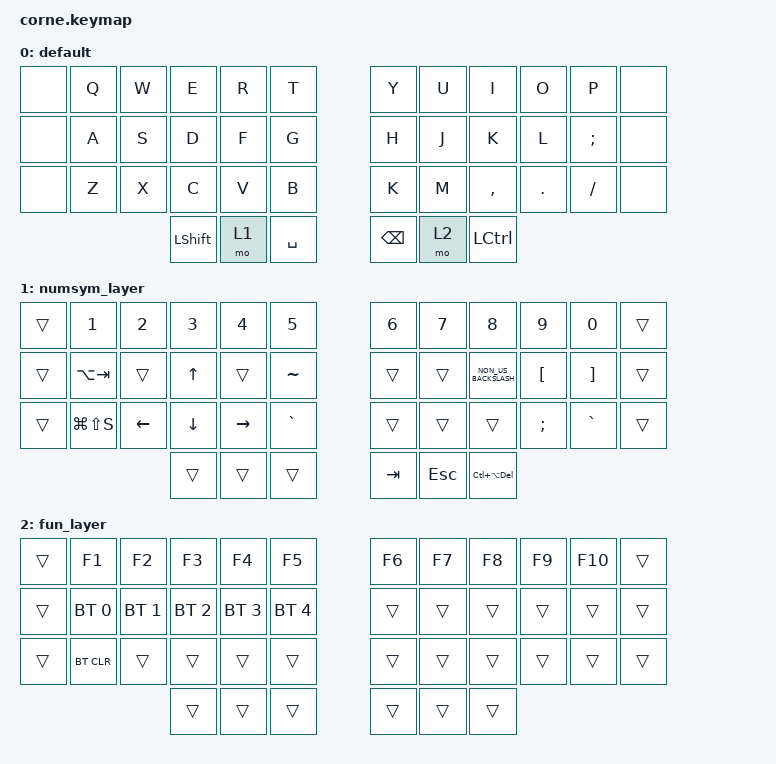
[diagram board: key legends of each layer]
/*
 * Copyright (c) 2020 The ZMK Contributors
 *
 * SPDX-License-Identifier: MIT
 */

#include <behaviors.dtsi>
#include <dt-bindings/zmk/bt.h>
#include <dt-bindings/zmk/keys.h>

&mt {
    tapping-term-ms = <400>;
    quick-tap-ms = <175>;
    require-prior-idle-ms = <150>;
    flavor = "balanced";
};

&lt { tapping-term-ms = <400>; };

/ {
    combos {
        compatible = "zmk,combos";

        combo_esc {
            timeout-ms = <50>;
            key-positions = <1 2 3>;
            bindings = <&kp ESCAPE>;
        };

        combo_bksp {
            timeout-ms = <50>;
            key-positions = <10 9 8>;
            bindings = <&kp BACKSPACE>;
        };

        combo_tab {
            bindings = <&kp TAB>;
            key-positions = <13 14 15>;
        };

        combo_shift {
            bindings = <&kp LEFT_SHIFT>;
            key-positions = <25 26 27>;
        };

        combo_delete {
            bindings = <&kp DELETE>;
            key-positions = <21 22 20>;
        };

        combo_rshift {
            bindings = <&kp RIGHT_SHIFT>;
            key-positions = <33 34 32>;
        };

        exclm {
            bindings = <&kp EXCLAMATION>;
            key-positions = <1 13>;
        };

        at {
            bindings = <&kp AT_SIGN>;
            key-positions = <2 14>;
        };

        hash {
            bindings = <&kp HASH>;
            key-positions = <3 15>;
        };

        dllr {
            bindings = <&kp DOLLAR>;
            key-positions = <4 16>;
        };

        percnt {
            bindings = <&kp PERCENT>;
            key-positions = <5 17>;
        };

        caret {
            bindings = <&kp CARET>;
            key-positions = <6 18>;
        };

        and {
            bindings = <&kp AMPERSAND>;
            key-positions = <7 19>;
        };

        str {
            bindings = <&kp ASTERISK>;
            key-positions = <8 20>;
        };

        leftparen {
            bindings = <&kp LPAR>;
            key-positions = <9 21>;
        };

        rparen {
            bindings = <&kp RPAR>;
            key-positions = <10 22>;
        };

        layout_switch {
            bindings = <&tog 0>;
            key-positions = <36 37 40 41>;
        };

        system_reset {
            bindings = <&sys_reset>;
            key-positions = <3 4 5 14>;
        };

        bootloader {
            bindings = <&bootloader>;
            key-positions = <15 16 17 26>;
        };

        system_layer_combo {
            bindings = <&mo 0>;
            key-positions = <36 37 38>;
        };
    };

    conditional_layers { compatible = "zmk,conditional-layers"; };

    keymap {
        compatible = "zmk,keymap";

        default {
            bindings = <
&none  &kp Q  &kp W  &kp E           &kp R  &kp T        &kp Y          &kp U  &kp I      &kp O    &kp P          &none
&none  &kp A  &kp S  &kp D           &kp F  &kp G        &kp H          &kp J  &kp K      &kp L    &kp SEMICOLON  &none
&none  &kp Z  &kp X  &kp C           &kp V  &kp B        &kp K          &kp M  &kp COMMA  &kp DOT  &kp FSLH       &none
                     &kp LEFT_SHIFT  &mo 1  &kp SPACE    &kp BACKSPACE  &mo 2  &kp LCTRL
            >;
        };

        numsym_layer {
            bindings = <
&trans  &kp N1         &kp N2    &kp N3        &kp N4     &kp N5       &kp NUMBER_6  &kp N7      &kp N8                &kp N9            &kp N0             &trans
&trans  &kp LA(TAB)    &trans    &kp UP_ARROW  &trans     &kp TILDE    &trans        &trans      &kp NON_US_BACKSLASH  &kp LEFT_BRACKET  &kp RIGHT_BRACKET  &trans
&trans  &kp LG(LS(S))  &kp LEFT  &kp DOWN      &kp RIGHT  &kp GRAVE    &trans        &trans      &trans                &kp SEMICOLON     &kp GRAVE          &trans
                                 &trans        &trans     &trans       &kp TAB       &kp ESCAPE  &kp LC(LA(DEL))
            >;
        };

        fun_layer {
            bindings = <
&trans  &kp F1        &kp F2        &kp F3        &kp F4        &kp F5          &kp F6  &kp F7  &kp F8  &kp F9  &kp F10  &trans
&trans  &bt BT_SEL 0  &bt BT_SEL 1  &bt BT_SEL 2  &bt BT_SEL 3  &bt BT_SEL 4    &trans  &trans  &trans  &trans  &trans   &trans
&trans  &bt BT_CLR    &trans        &trans        &trans        &trans          &trans  &trans  &trans  &trans  &trans   &trans
                                    &trans        &trans        &trans          &trans  &trans  &trans
            >;
        };
    };
};
